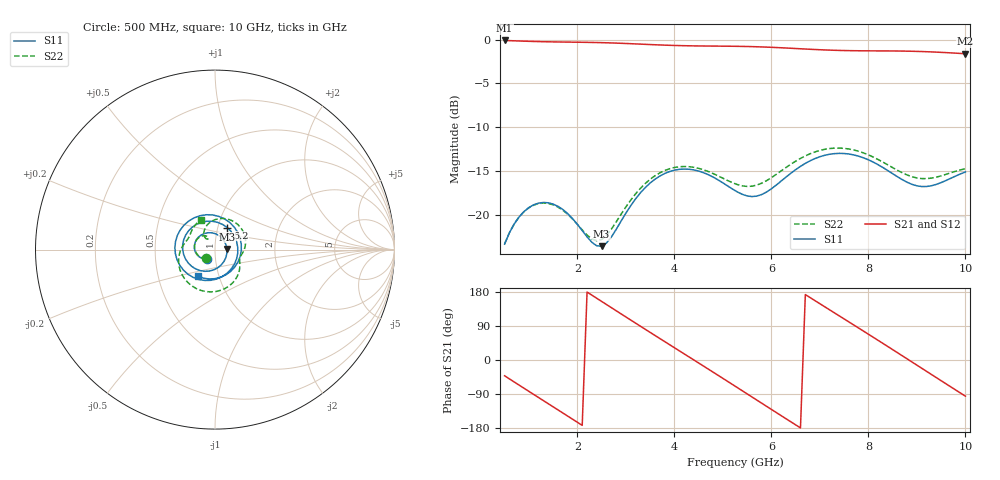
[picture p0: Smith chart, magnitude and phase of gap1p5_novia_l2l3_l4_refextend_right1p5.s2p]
! Touchstone file exported from HFSS 3D Layout Design 2026.1.0
!  File:  D:/Work/ADS/HFSS_VERDICT/hfss_sma_connector_cpw.aedt
!  Generated:  11:52:03 AM Aug  6, 2026
!  Design:  SINGLE_END_SMA_CPW_30MM
!  Project:  hfss_sma_connector_cpw
! Variables:
!  $sma_Base_D = 6.25mm
!  $sma_Base_L = 8mm
!  $sma_Feet_L = 4mm
!  $sma_Feet_W = 1mm
!  $sma_Front_L = 1.5mm
!  $sma_Front_W = 6.5mm
!  $sma_Hole_D = 1.25mm
!  $sma_PTFE_D = 4.2mm
!  $sma_Pin_D = 0.95mm
!  $sma_Pin_P = 1.7mm
# GHz S MA R 50.000000
! Terminal data exported
! Port[1] = Port1
! Port[2] = S1_1_Pin_T1
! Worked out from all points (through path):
!   96 points, 500 MHz to 10 GHz, reference 50 ohm
!   highest |S21| = -0.11 dB at 500 MHz (marker M1); lowest = -1.6 dB at 10 GHz (marker M2)
!   group delay of S21, straight-line fit = 226 ps
!   lowest |S11| = -23.6 dB at 2.5 GHz (marker M3), VSWR 1.14, Z = 57.1 + j0.349 ohm
!   |S11| at or under -10 dB: start of sweep to end of sweep
!   |S22| runs from -23.3 to -12.4 dB; largest |S21 - S12| = 1.6e-14
!   S11 on the Smith chart (normalised r, x): 500 MHz: 0.91, -0.09; 5.2 GHz: 1.11, +0.28; 10 GHz: 0.80, -0.25
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0.5  0.06826 -131.4  0.9877 -41.7  0.9877 -41.7  0.06852 -134.0
0.9  0.1047 -164.6  0.9786 -74.6  0.9786 -74.6  0.1045 -167.7
1.3  0.1179 161.2  0.9717 -107.2  0.9717 -107.2  0.1171 161.3
1.7  0.1075 123.3  0.9675 -139.8  0.9675 -139.8  0.1064 134.9
2.1  0.08155 74.8  0.9644 -172.5  0.9644 -172.5  0.08225 120.1
2.5  0.06645 2.6  0.9596 154.6  0.9596 154.6  0.07256 126.4
3.1  0.113 -93.4  0.9467 105.5  0.9467 105.5  0.1216 119.6
3.7  0.1667 -153.3  0.9312 56.7  0.9312 56.7  0.1738 82.6
4.4  0.1807 144.6  0.9199 0.2  0.9199 0.2  0.187 34.1
4.8  0.1644 106.1  0.9174 -32.2  0.9174 -32.2  0.1722 9.6
5.2  0.1405 60.8  0.9153 -64.8  0.9153 -64.8  0.1527 -8.7
5.3  0.1353 48.0  0.9145 -73.0  0.9145 -73.0  0.1491 -12.0
5.7  0.1281 -8.5  0.9092 -105.8  0.9092 -105.8  0.1481 -22.6
6.2  0.156 -75.3  0.8974 -146.7  0.8974 -146.7  0.1783 -40.4
6.9  0.2098 -147.0  0.8771 156.6  0.8771 156.6  0.2289 -81.7
7.3  0.2238 177.2  0.8683 124.4  0.8683 124.4  0.2405 -109.1
7.7  0.22 141.7  0.8634 92.3  0.8634 92.3  0.2347 -136.3
8.1  0.2002 104.1  0.8616 60.0  0.8616 60.0  0.2139 -161.6
8.5  0.172 61.5  0.8605 27.4  0.8605 27.4  0.1862 177.3
9.2  0.1454 -28.3  0.8521 -30.0  0.8521 -30.0  0.1612 152.1
9.6  0.1573 -78.7  0.8421 -62.8  0.8421 -62.8  0.1705 136.3
10  0.1759 -121.7  0.83 -95.4  0.83 -95.4  0.1836 114.3
